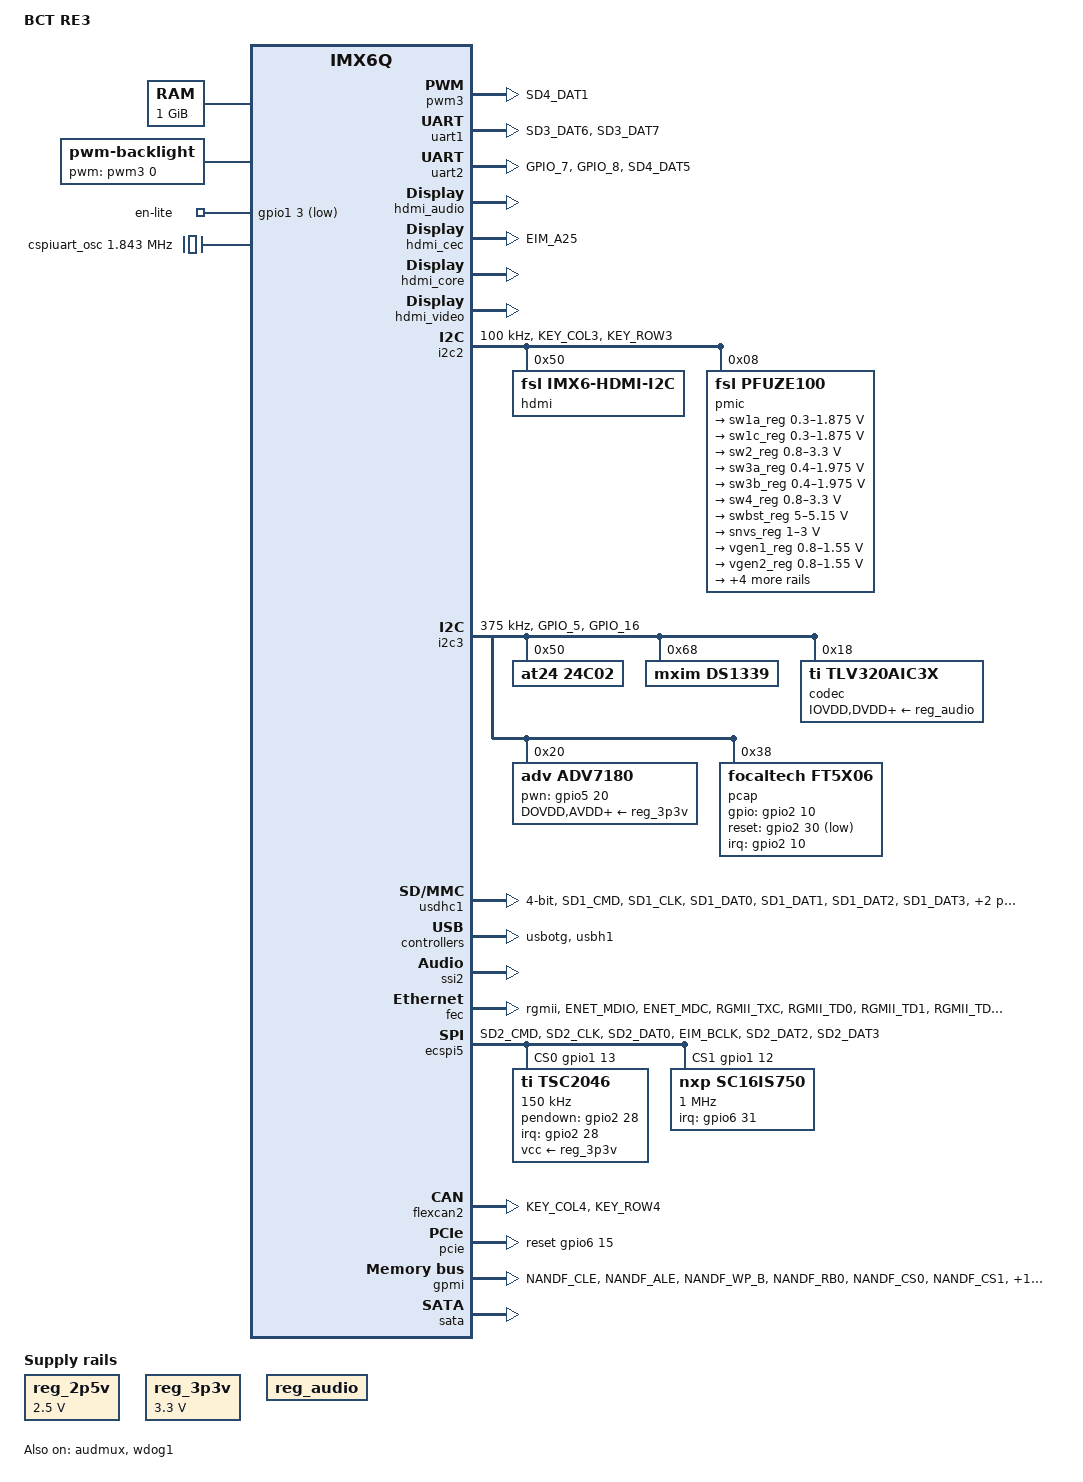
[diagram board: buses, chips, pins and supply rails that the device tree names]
/*
 * Copyright 2012 Freescale Semiconductor, Inc.
 * Copyright 2011 Linaro Ltd.
 *
 * The code contained herein is licensed under the GNU General Public
 * License. You may obtain a copy of the GNU General Public License
 * Version 2 or later at the following locations:
 *
 * http://www.opensource.org/licenses/gpl-license.html
 * http://www.gnu.org/copyleft/gpl.html
 */

/dts-v1/;

#include "imx6q.dtsi"

/ {
	model = "BCT RE3";
	compatible = "fsl,imx6q-bctre3", "fsl,imx6q";


	aliases {
		mxcfb0 = &mxcfb1;
		mxcfb2 = &mxcfb3;
	};

	memory {
		reg = <0x10000000 0x40000000>;
	};
	
	regulators {
		compatible = "simple-bus";
		#address-cells = <1>;
		#size-cells = <0>;

		reg_2p5v: regulator@0 {
			compatible = "regulator-fixed";
			reg = <0>;
			regulator-name = "2P5V";
			regulator-min-microvolt = <2500000>;
			regulator-max-microvolt = <2500000>;
			regulator-always-on;
		};

		reg_3p3v: regulator@1 {
			compatible = "regulator-fixed";
			reg = <1>;
			regulator-name = "3P3V";
			regulator-min-microvolt = <3300000>;
			regulator-max-microvolt = <3300000>;
			regulator-always-on;
		};
		
		reg_audio: regulator@2 { 
 			compatible = "regulator-fixed"; 
 			reg = <2>; 
 			regulator-name = "tlv320aic3x-supply"; 
 			regulator-always-on;
 		}; 

	};
	
	sound { 
		compatible = "fsl,imx6q-re3-tlv320aic3x", "fsl,imx-audio-tlv320aic3x"; 
		model = "tlv320aic3x-audio"; 
 		cpu-dai = <&ssi2>; 
		audio-codec = <&codec>; 
		audio-routing = 
 			/* Headphone connected to HPLOUT, HPROUT */ 
			"Headphone Jack",       "HPLOUT", 
			"Headphone Jack",       "HPROUT", 
			"Line In Jack",		"LINE1L", 
			"Line In Jack",		"LINE1R"; 
		mux-int-port = <2>; 
 		mux-ext-port = <5>; 
	}; 

	
	sound-hdmi {
		compatible = "fsl,imx6q-audio-hdmi",
			     "fsl,imx-audio-hdmi";
		model = "imx-audio-hdmi";
		hdmi-controller = <&hdmi_audio>;
	};
	

	mxcfb1: fb@0 {
		compatible = "fsl,mxc_sdc_fb";
		disp_dev = "lcd";
		interface_pix_fmt = "RGB565";
		mode_str ="MI800x480";
		default_bpp = <32>;
		int_clk = <0>;
		late_init = <0>;
		status = "okay";
	};
	
	mxcfb3: fb@2 {
		compatible = "fsl,mxc_sdc_fb";
		disp_dev = "hdmi";
		interface_pix_fmt = "RGB24";
		mode_str ="";
		default_bpp = <16>;
		int_clk = <0>;
		late_init = <0>;
		status = "okay";
	};
	
	lcd@0 {
     compatible = "fsl,lcd";
     pinctrl-names = "default";
     pinctrl-0 = <&pinctrl_lcd>;
     ipu_id = <0>;
     disp_id = <0>;
     default_ifmt = "BGR24";
     status = "okay";
	};
	
	backlight {
		compatible = "pwm-backlight";
		pwms = <&pwm3 0 50000>;
		brightness-levels = < 0  1  2  3  4  5  6  7  8  9
				     10 11 12 13 14 15 16 17 18 19
				     20 21 22 23 24 25 26 27 28 29
				     30 31 32 33 34 35 36 37 38 39
				     40 41 42 43 44 45 46 47 48 49
				     50 51 52 53 54 55 56 57 58 59
				     60 61 62 63 64 65 66 67 68 69
				     70 71 72 73 74 75 76 77 78 79
				     80 81 82 83 84 85 86 87 88 89
				     90 91 92 93 94 95 96 97 98 99
				    100>;
		default-brightness-level = <100>;
	};
	
	gpio_leds {
		compatible = "gpio-leds";
		
		en-lite {
			label = "en-lite";
			gpios = <&gpio1 3 1>;
			linux,default-trigger = "backlight";
		};
	};
	
		v4l2_cap_0 {
		compatible = "fsl,imx6q-v4l2-capture";
		ipu_id = <0>;
		csi_id = <0>;
		mclk_source = <0>;
		status = "okay";
	};

	v4l2_out {
		compatible = "fsl,mxc_v4l2_output";
		status = "okay";
	};
	
	clocks {
		cspiuart_osc: anaclk2 {
			compatible = "fixed-clock";
			#clock-cells = <0>;
			clock-frequency = <1843200>;
		};
	};
};

&iomuxc {
	pinctrl-names = "default";
	pinctrl-0 = <&pinctrl_hog>;

	imx6q-bctre3 {
	
        pinctrl_audmux: audmux {
                fsl,pins = <
                        MX6QDL_PAD_KEY_COL0__AUD5_TXC  0x130b0
                        MX6QDL_PAD_KEY_COL1__AUD5_TXFS 0x130b0
                        MX6QDL_PAD_KEY_ROW1__AUD5_RXD  0x130b0
                        MX6QDL_PAD_KEY_ROW0__AUD5_TXD  0x130b0
                >;
        };

		pinctrl_hog: hoggrp {
			fsl,pins = <
				MX6QDL_PAD_EIM_A24__GPIO5_IO04   0x80000000
				MX6QDL_PAD_EIM_EB1__GPIO2_IO29	0x80000000
				MX6QDL_PAD_SD3_RST__GPIO7_IO08 0x80000000
				MX6QDL_PAD_CSI0_DATA_EN__GPIO5_IO20 0x17059
				MX6QDL_PAD_GPIO_1__GPIO1_IO01 0x17059
				MX6QDL_PAD_GPIO_9__GPIO1_IO09 0x17059
				MX6QDL_PAD_GPIO_18__GPIO7_IO13 0x17059 //LCD Enable
				MX6QDL_PAD_GPIO_3__GPIO1_IO03 0x1F059 //backlight Enable
				MX6QDL_PAD_SD3_DAT3__GPIO7_IO07 0x1F059 //cam reset#
				MX6QDL_PAD_CSI0_DATA_EN__GPIO5_IO20 0x13059 //cam reset#
				MX6QDL_PAD_SD3_DAT2__GPIO7_IO06 0x80000000 
				MX6QDL_PAD_NANDF_CS2__GPIO6_IO15 0x1F059 //PCI reset
				MX6QDL_PAD_SD4_DAT2__GPIO2_IO10  0x17059 //pcap int
				MX6QDL_PAD_EIM_EB0__GPIO2_IO28 0x17059 //res touch int
				MX6QDL_PAD_GPIO_4__GPIO1_IO04 0x13059 //GPIO1
				MX6QDL_PAD_KEY_COL2__GPIO4_IO10 0x13059 //GPIO2
				MX6QDL_PAD_ENET_RX_ER__GPIO1_IO24  0x13059 //GPIO3
				MX6QDL_PAD_ENET_TX_EN__GPIO1_IO28  0x13059 //GPIO4
				MX6QDL_PAD_ENET_RXD0__GPIO1_IO27  0x13059 //GPIO5
				MX6QDL_PAD_ENET_RXD1__GPIO1_IO26  0x13059 //GPIO6
				MX6QDL_PAD_ENET_TXD0__GPIO1_IO30  0x13059 //GPIO7
				MX6QDL_PAD_ENET_TXD1__GPIO1_IO29  0x13059 //GPIO8
				MX6QDL_PAD_KEY_ROW2__GPIO4_IO11 0x13059 //GPIO9
				MX6QDL_PAD_GPIO_6__GPIO1_IO06 0x13059 //GPIO10
				MX6QDL_PAD_SD4_DAT7__GPIO2_IO15 0x13059 //GPIO11
			>; 
		};
		
		pinctrl_lcd: lcdgrp {
			fsl,pins = <
				MX6QDL_PAD_DISP0_DAT0__IPU1_DISP0_DATA00 0x100b1
				MX6QDL_PAD_DISP0_DAT1__IPU1_DISP0_DATA01		0x100b1
				MX6QDL_PAD_DISP0_DAT2__IPU1_DISP0_DATA02		0x100b1
				MX6QDL_PAD_DISP0_DAT3__IPU1_DISP0_DATA03		0x100b1
				MX6QDL_PAD_DISP0_DAT4__IPU1_DISP0_DATA04		0x100b1
				MX6QDL_PAD_DISP0_DAT5__IPU1_DISP0_DATA05		0x100b1
				MX6QDL_PAD_DISP0_DAT6__IPU1_DISP0_DATA06		0x100b1
				MX6QDL_PAD_DISP0_DAT7__IPU1_DISP0_DATA07		0x100b1
				MX6QDL_PAD_DISP0_DAT8__IPU1_DISP0_DATA08		0x100b1
				MX6QDL_PAD_DISP0_DAT9__IPU1_DISP0_DATA09		0x100b1
				MX6QDL_PAD_DISP0_DAT10__IPU1_DISP0_DATA10		0x100b1
				MX6QDL_PAD_DISP0_DAT11__IPU1_DISP0_DATA11		0x100b1
				MX6QDL_PAD_DISP0_DAT12__IPU1_DISP0_DATA12		0x100b1
				MX6QDL_PAD_DISP0_DAT13__IPU1_DISP0_DATA13		0x100b1
				MX6QDL_PAD_DISP0_DAT14__IPU1_DISP0_DATA14		0x100b1
				MX6QDL_PAD_DISP0_DAT15__IPU1_DISP0_DATA15		0x100b1
				MX6QDL_PAD_DISP0_DAT16__IPU1_DISP0_DATA16		0x100b1
				MX6QDL_PAD_DISP0_DAT17__IPU1_DISP0_DATA17		0x100b1
				MX6QDL_PAD_DISP0_DAT18__IPU1_DISP0_DATA18		0x100b1
				MX6QDL_PAD_DISP0_DAT19__IPU1_DISP0_DATA19		0x100b1
				MX6QDL_PAD_DISP0_DAT20__IPU1_DISP0_DATA20		0x100b1
				MX6QDL_PAD_DISP0_DAT21__IPU1_DISP0_DATA21		0x100b1
				MX6QDL_PAD_DISP0_DAT22__IPU1_DISP0_DATA22		0x100b1
				MX6QDL_PAD_DISP0_DAT23__IPU1_DISP0_DATA23		0x100b1
				MX6QDL_PAD_DI0_DISP_CLK__IPU1_DI0_DISP_CLK		0x100b1
				MX6QDL_PAD_DI0_PIN2__IPU1_DI0_PIN02			0x100b1
				MX6QDL_PAD_DI0_PIN3__IPU1_DI0_PIN03			0x100b1
				MX6QDL_PAD_DI0_PIN4__IPU1_DI0_PIN04			0x100b1
				MX6QDL_PAD_DI0_PIN15__IPU1_DI0_PIN15		0x100b1
			>;
		};

		pinctrl_flexcan2: flexcan2grp {
			fsl,pins = <
				MX6QDL_PAD_KEY_COL4__FLEXCAN2_TX	0x80000000
				MX6QDL_PAD_KEY_ROW4__FLEXCAN2_RX	0x80000000
			>;
		};

		pinctrl_gpmi_nand: gpminandgrp {
			fsl,pins = <
				MX6QDL_PAD_NANDF_CLE__NAND_CLE		0xb0b1
				MX6QDL_PAD_NANDF_ALE__NAND_ALE		0xb0b1
				MX6QDL_PAD_NANDF_WP_B__NAND_WP_B	0xb0b1
				MX6QDL_PAD_NANDF_RB0__NAND_READY_B	0xb000
				MX6QDL_PAD_NANDF_CS0__NAND_CE0_B	0xb0b1
				MX6QDL_PAD_NANDF_CS1__NAND_CE1_B	0xb0b1
				MX6QDL_PAD_SD4_CMD__NAND_RE_B		0xb0b1
				MX6QDL_PAD_SD4_CLK__NAND_WE_B		0xb0b1
				MX6QDL_PAD_NANDF_D0__NAND_DATA00	0xb0b1
				MX6QDL_PAD_NANDF_D1__NAND_DATA01	0xb0b1
				MX6QDL_PAD_NANDF_D2__NAND_DATA02	0xb0b1
				MX6QDL_PAD_NANDF_D3__NAND_DATA03	0xb0b1
				MX6QDL_PAD_NANDF_D4__NAND_DATA04	0xb0b1
				MX6QDL_PAD_NANDF_D5__NAND_DATA05	0xb0b1
				MX6QDL_PAD_NANDF_D6__NAND_DATA06	0xb0b1
				MX6QDL_PAD_NANDF_D7__NAND_DATA07	0xb0b1
			>;
		};

		pinctrl_i2c2: i2c2grp {
			fsl,pins = <
				MX6QDL_PAD_KEY_COL3__I2C2_SCL  0x4001b8b1
				MX6QDL_PAD_KEY_ROW3__I2C2_SDA 0x4001b8b1
			>;
		};
		
		pinctrl_i2c3: i2c3grp {
			fsl,pins = <
				MX6QDL_PAD_GPIO_5__I2C3_SCL  0x4001b8b1
				MX6QDL_PAD_GPIO_16__I2C3_SDA 0x4001b8b1
			>;
		};

		pinctrl_ipu1_1: ipu1grp-1 {
			fsl,pins = <
				MX6QDL_PAD_CSI0_DAT12__IPU1_CSI0_DATA12  0x80000000
				MX6QDL_PAD_CSI0_DAT13__IPU1_CSI0_DATA13  0x80000000
				MX6QDL_PAD_CSI0_DAT14__IPU1_CSI0_DATA14  0x80000000
				MX6QDL_PAD_CSI0_DAT15__IPU1_CSI0_DATA15  0x80000000
				MX6QDL_PAD_CSI0_DAT16__IPU1_CSI0_DATA16  0x80000000
				MX6QDL_PAD_CSI0_DAT17__IPU1_CSI0_DATA17  0x80000000
				MX6QDL_PAD_CSI0_DAT18__IPU1_CSI0_DATA18  0x80000000
				MX6QDL_PAD_CSI0_DAT19__IPU1_CSI0_DATA19  0x80000000
				MX6QDL_PAD_CSI0_PIXCLK__IPU1_CSI0_PIXCLK 0x80000000
				MX6QDL_PAD_CSI0_MCLK__IPU1_CSI0_HSYNC    0x80000000
				MX6QDL_PAD_CSI0_VSYNC__IPU1_CSI0_VSYNC   0x80000000
			>;
		};

		pinctrl_uart1: uart1grp-1 {
			fsl,pins = <
				MX6QDL_PAD_SD3_DAT6__UART1_RX_DATA	0x1b0b1
				MX6QDL_PAD_SD3_DAT7__UART1_TX_DATA	0x1b0b1
			>;
		};
		
		pinctrl_uart2: uart2grp-1 {
			fsl,pins = <
				MX6QDL_PAD_GPIO_7__UART2_TX_DATA	0x1b0b1
				MX6QDL_PAD_GPIO_8__UART2_RX_DATA	0x1b0b1
				MX6QDL_PAD_SD4_DAT5__GPIO2_IO13		0x1b0b1 //entx
			>;
		};

		pinctrl_usdhc1: usdhc1grp {
			fsl,pins = <
				MX6QDL_PAD_SD1_CMD__SD1_CMD		0x17071
				MX6QDL_PAD_SD1_CLK__SD1_CLK		0x10071
				MX6QDL_PAD_SD1_DAT0__SD1_DATA0		0x17071
				MX6QDL_PAD_SD1_DAT1__SD1_DATA1		0x17071
				MX6QDL_PAD_SD1_DAT2__SD1_DATA2		0x17071
				MX6QDL_PAD_SD1_DAT3__SD1_DATA3		0x17071
			>;
		};

		pinctrl_hdmi_cec: hdmicecgrp {
			fsl,pins = <
				MX6QDL_PAD_EIM_A25__HDMI_TX_CEC_LINE 0x1f8b0
			>;
		};

		pinctrl_pwm3_1: pwm3grp-1 {
			fsl,pins = <
				MX6QDL_PAD_SD4_DAT1__PWM3_OUT 0x1b0b1
			>;
		};
		
		pinctrl_enet: enetgrp {
			fsl,pins = <
				MX6QDL_PAD_ENET_MDIO__ENET_MDIO		0x1b0b0
				MX6QDL_PAD_ENET_MDC__ENET_MDC		0x1b0b0
				MX6QDL_PAD_RGMII_TXC__RGMII_TXC		0x1b0b0
				MX6QDL_PAD_RGMII_TD0__RGMII_TD0		0x1b0b0
				MX6QDL_PAD_RGMII_TD1__RGMII_TD1		0x1b0b0
				MX6QDL_PAD_RGMII_TD2__RGMII_TD2		0x1b0b0
				MX6QDL_PAD_RGMII_TD3__RGMII_TD3		0x1b0b0
				MX6QDL_PAD_RGMII_TX_CTL__RGMII_TX_CTL	0x1b0b0
				MX6QDL_PAD_ENET_REF_CLK__ENET_TX_CLK	0x1b0b0
				MX6QDL_PAD_RGMII_RXC__RGMII_RXC		0x1b0b0
				MX6QDL_PAD_RGMII_RD0__RGMII_RD0		0x1b0b0
				MX6QDL_PAD_RGMII_RD1__RGMII_RD1		0x1b0b0
				MX6QDL_PAD_RGMII_RD2__RGMII_RD2		0x1b0b0
				MX6QDL_PAD_RGMII_RD3__RGMII_RD3		0x1b0b0
				MX6QDL_PAD_RGMII_RX_CTL__RGMII_RX_CTL	0x1b0b0
				MX6QDL_PAD_ENET_REF_CLK__ENET_TX_CLK	0x4001b0a8
			>;
		};
		
		
		pinctrl_ecspi5: ecspi5 {
			fsl,pins = <
				MX6QDL_PAD_SD2_CMD__ECSPI5_MOSI		0x100b1
				MX6QDL_PAD_SD2_CLK__ECSPI5_SCLK		0x100b1
				MX6QDL_PAD_SD2_DAT0__ECSPI5_MISO	0x100b1
				MX6QDL_PAD_EIM_BCLK__GPIO6_IO31		0x100b1
				MX6QDL_PAD_SD2_DAT2__GPIO1_IO13		0x100b1
				MX6QDL_PAD_SD2_DAT3__GPIO1_IO12		0x100b1
				
			>;
		};
	};
};

&pwm3 {
	pinctrl-names = "default";
	pinctrl-0 = <&pinctrl_pwm3_1>;
	status = "okay";
};

&uart1 {
	pinctrl-names = "default";
	pinctrl-0 = <&pinctrl_uart1>;
	status = "okay";
};

&uart2 {
	pinctrl-names = "default";
	pinctrl-0 = <&pinctrl_uart2>;
	status = "okay";
};

&hdmi_audio {
	status = "okay";
};

&hdmi_cec {
	pinctrl-names = "default";
	pinctrl-0 = <&pinctrl_hdmi_cec>;
	status = "okay";
};

&hdmi_core {
	ipu_id = <0>;
	disp_id = <1>;
	status = "okay";
};

&hdmi_video {
	fsl,phy_reg_vlev = <0x0294>;
	fsl,phy_reg_cksymtx = <0x800d>;
	status = "okay";
};

&i2c2 {
	clock-frequency = <100000>;
	pinctrl-names = "default";
	pinctrl-0 = <&pinctrl_i2c2>;
	status = "okay";

	hdmi: edid@50 {
		compatible = "fsl,imx6-hdmi-i2c";
		reg = <0x50>;
	};

	pmic: pfuze100@08 {
		compatible = "fsl,pfuze100";
		reg = <0x08>;

		regulators {
			sw1a_reg: sw1ab {
				regulator-min-microvolt = <300000>;
				regulator-max-microvolt = <1875000>;
				regulator-boot-on;
				regulator-always-on;
				regulator-ramp-delay = <6250>;
			};

			sw1c_reg: sw1c {
				regulator-min-microvolt = <300000>;
				regulator-max-microvolt = <1875000>;
				regulator-boot-on;
				regulator-always-on;
				regulator-ramp-delay = <6250>;
			};

			sw2_reg: sw2 {
				regulator-min-microvolt = <800000>;
				regulator-max-microvolt = <3300000>;
				regulator-boot-on;
				regulator-always-on;
			};

			sw3a_reg: sw3a {
				regulator-min-microvolt = <400000>;
				regulator-max-microvolt = <1975000>;
				regulator-boot-on;
				regulator-always-on;
			};

			sw3b_reg: sw3b {
				regulator-min-microvolt = <400000>;
				regulator-max-microvolt = <1975000>;
				regulator-boot-on;
				regulator-always-on;
			};

			sw4_reg: sw4 {
				regulator-min-microvolt = <800000>;
				regulator-max-microvolt = <3300000>;
			};

			swbst_reg: swbst {
				regulator-min-microvolt = <5000000>;
				regulator-max-microvolt = <5150000>;
			};

			snvs_reg: vsnvs {
				regulator-min-microvolt = <1000000>;
				regulator-max-microvolt = <3000000>;
				regulator-boot-on;
				regulator-always-on;
			};

			vref_reg: vrefddr {
				regulator-boot-on;
				regulator-always-on;
			};

			vgen1_reg: vgen1 {
				regulator-min-microvolt = <800000>;
				regulator-max-microvolt = <1550000>;
			};

			vgen2_reg: vgen2 {
				regulator-min-microvolt = <800000>;
				regulator-max-microvolt = <1550000>;
			};

			vgen3_reg: vgen3 {
				regulator-min-microvolt = <1800000>;
				regulator-max-microvolt = <3300000>;
			};

			vgen4_reg: vgen4 {
				regulator-min-microvolt = <1800000>;
				regulator-max-microvolt = <3300000>;
				regulator-always-on;
			};

			vgen5_reg: vgen5 {
				regulator-min-microvolt = <1800000>;
				regulator-max-microvolt = <3300000>;
				regulator-always-on;
			};

			vgen6_reg: vgen6 {
				regulator-min-microvolt = <1800000>;
				regulator-max-microvolt = <3300000>;
				regulator-always-on;
			};
		};
	};
};

&i2c3 {
	clock-frequency = <375000>;
	pinctrl-names = "default";
	pinctrl-0 = <&pinctrl_i2c3>;
	status = "okay";
	
	at24@50 {
		compatible = "at24,24c02";
		pagesize = <8>;
		reg = <0x50>;
	};
	
	ds1339: rtc@68 {
		compatible = "mxim,ds1339";
		reg = <0x68>;
	};
	
	codec: tlv320aic3x@18 { 
 		compatible = "ti,tlv320aic3x"; 
 		reg = <0x18>; 
 		clocks = <&clks 201>; 
 		clock-names = "clko_clk"; 
 		IOVDD-supply = <&reg_audio>; 
 		DVDD-supply = <&reg_audio>; 
 		AVDD-supply = <&reg_audio>; 
 		DRVDD-supply = <&reg_audio>;
 		/* 
 		gpio-reset = <&gpio4 5 1>; 
 		gpio-cfg = < 
 			0x0000 // 0:Default
 			0x0000 // 1:Default 
 			0x0013 // 2:FN_DMICCLK
 			0x0000 // 3:Default 
 			0x8014 // 4:FN_DMICCDAT
 			0x0000 // 5:Default 
 		>; 
 		*/
	}; 
	
	adv7180: adv7180@20 {
		compatible = "adv,adv7180";
		reg = <0x20>;
		pinctrl-names = "default";
		pinctrl-0 = <&pinctrl_ipu1_1>;
		clocks = <&clks IMX6QDL_CLK_CKO>;
		clock-names = "csi_mclk";
		DOVDD-supply = <&reg_3p3v>; /* 3.3v, enabled via 2.8 VGEN6 */
		AVDD-supply = <&reg_3p3v>;  /* 1.8v */
		DVDD-supply = <&reg_3p3v>;  /* 1.8v */
		PVDD-supply = <&reg_3p3v>;  /* 1.8v */
		pwn-gpios = <&gpio5 20 0>;
		csi_id = <0>;
		mclk = <27000000>;
		mclk_source = <0>;
		cvbs = <1>;
	};
	
	pcap: pcf8523@4A {
		compatible = "focaltech,ft5x06";
		reg = <0x38>;
		interrupt-parent = <&gpio2>;
		interrupts = <10 0>;
		gpios = <&gpio2 10 0>;
		reset-gpio = <&gpio2 30 1>; //driver requires, but RE3 doesnt implement. GPIO2-30 is not connected in RE3/RM3
		linux,wakeup;
		status = "okay"; 
	};
};

&usdhc1 {
	pinctrl-names = "default";
	pinctrl-0 = <&pinctrl_usdhc1>;
	bus-width = <4>;
	cd-gpios = <&gpio1 1 0>;
	wp-gpios = <&gpio2 1 9>;
	no-1-8-v;
	keep-power-in-suspend;
	enable-sdio-wakeup;
	status = "okay";
};

&gpc {
	/* use ldo-bypass, u-boot will check it and configure */
	fsl,ldo-bypass = <0>;
	fsl,wdog-reset = <1>;
};

&cpu0 {
	arm-supply = <&sw1a_reg>;
	soc-supply = <&sw1c_reg>;
};

&usbotg {
	status = "okay";
};

&usbh1 {
	//vbus-supply = <&reg_usb_h1_vbus>;
	status = "okay";
};

&audmux { 
 	pinctrl-names = "default"; 
 	pinctrl-0 = <&pinctrl_audmux>; 
 	status = "okay"; 
}; 


&ssi2 { 
 	fsl,mode = "i2s-slave"; 
 	status = "okay"; 
}; 
	
	
&fec {
	pinctrl-names = "default";
	pinctrl-0 = <&pinctrl_enet>;
	phy-mode = "rgmii";
	phy-reset-gpios = <&gpio7 6 1>;
	phy-reset-gpio-active-high;
	status = "okay";
};

&ecspi5 {
	fsl,spi-num-chipselects = <2>;
	cs-gpios =  <&gpio1 13 0>, <&gpio1 12 0>;
	pinctrl-names = "default";
	pinctrl-0 = <&pinctrl_ecspi5>;
	status = "okay"; 
	
	tsc2046: tsc2046 {
		reg = <0>;
		compatible = "ti,tsc2046";
		interrupt-parent = <&gpio2>;
		interrupts = <28 0>;
		spi-max-frequency = <150000>;
		pendown-gpio = <&gpio2 28 0>;
		vcc-supply = <&reg_3p3v>;
		//ti,x-min = /bits/ 16 <220>;
		//ti,x-max = /bits/ 16 <3400>;
		//ti,y-min = /bits/ 16 <190>;
		//ti,y-max = /bits/ 16 <1950>;
		ti,x-plate-ohms = /bits/ 16 <180>;
		ti,y-plate-ohms = /bits/ 16 <180>;
		ti,pressure-max = /bits/ 16 <700>;
		//ti,penirq-recheck-delay-usecs = /bits/ 16 <550>;
		ti,debounce-rep = /bits/ 16 <1>;
		ti,debounce-tol = /bits/ 16 <8>;
		ti,debounce-max = /bits/ 16 <8>;
		//ti,settle-delay-usec = /bits/ 16 <1>;
		ti,keep-vref-on;
		linux,wakeup;
		status = "okay";
	};

	sc16is750: sc16is750@1 {
		compatible = "nxp,sc16is750";
		reg = <1>;
		clocks = <&cspiuart_osc>;
		interrupt-parent = <&gpio6>;
		interrupts = <31 IRQ_TYPE_EDGE_FALLING>;
		spi-max-frequency = <1000000>;
		gpio-controller;
		#gpio-cells = <2>;
	};
};

&flexcan2 {
	pinctrl-names = "default";
	pinctrl-0 = <&pinctrl_flexcan2>;
	status = "okay";
};

&pcie {
	reset-gpio = <&gpio6 15 0>;
	status = "okay";
};

&gpmi {
	pinctrl-names = "default";
	pinctrl-0 = <&pinctrl_gpmi_nand>;
	status = "okay"; /* gpmi nand conflicts with SD */
	nand-on-flash-bbt;
};

&sata {
	status = "okay";
};

&wdog1 {
	status = "okay";
};

&wdog2 {
	status = "disabled";
};
